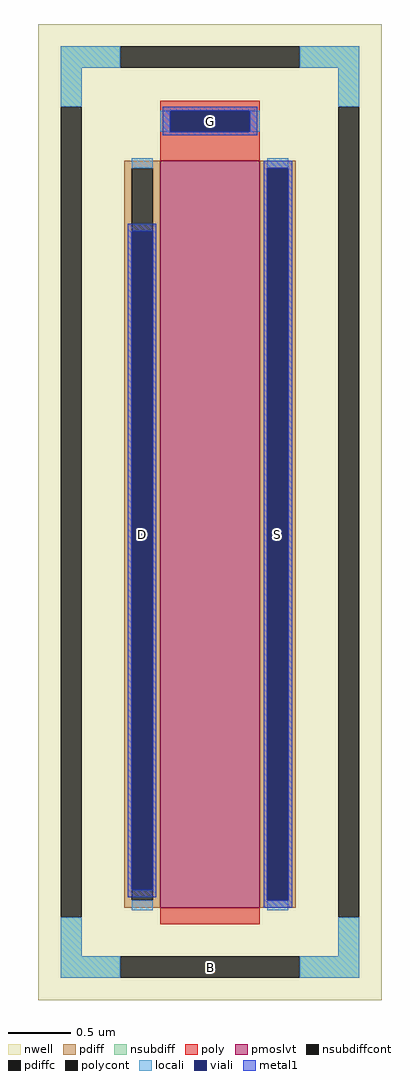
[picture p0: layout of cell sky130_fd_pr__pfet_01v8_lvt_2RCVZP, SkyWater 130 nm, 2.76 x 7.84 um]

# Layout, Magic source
magic
tech sky130A
magscale 1 2
<< nwell >>
rect -276 -784 276 784
<< pmoslvt >>
rect -80 -636 80 564
<< pdiff >>
rect -138 552 -80 564
rect -138 -624 -126 552
rect -92 -624 -80 552
rect -138 -636 -80 -624
rect 80 552 138 564
rect 80 -624 92 552
rect 126 -624 138 552
rect 80 -636 138 -624
<< pdiffc >>
rect -126 -624 -92 552
rect 92 -624 126 552
<< nsubdiff >>
rect -240 714 -144 748
rect 144 714 240 748
rect -240 651 -206 714
rect 206 651 240 714
rect -240 -714 -206 -651
rect 206 -714 240 -651
rect -240 -748 -144 -714
rect 144 -748 240 -714
<< nsubdiffcont >>
rect -144 714 144 748
rect -240 -651 -206 651
rect 206 -651 240 651
rect -144 -748 144 -714
<< poly >>
rect -80 645 80 661
rect -80 611 -64 645
rect 64 611 80 645
rect -80 564 80 611
rect -80 -662 80 -636
<< polycont >>
rect -64 611 64 645
<< locali >>
rect -240 714 -144 748
rect 144 714 240 748
rect -240 651 -206 714
rect 206 651 240 714
rect -80 611 -64 645
rect 64 611 80 645
rect -126 552 -92 568
rect -126 -640 -92 -624
rect 92 552 126 568
rect 92 -640 126 -624
rect -240 -714 -206 -651
rect 206 -714 240 -651
rect -240 -748 -144 -714
rect 144 -748 240 -714
<< viali >>
rect -64 611 64 645
rect -126 -607 -92 451
rect 92 -624 126 552
<< metal1 >>
rect -76 645 76 651
rect -76 611 -64 645
rect 64 611 76 645
rect -76 605 76 611
rect 86 552 132 564
rect -132 451 -86 463
rect -132 -607 -126 451
rect -92 -607 -86 451
rect -132 -619 -86 -607
rect 86 -624 92 552
rect 126 -624 132 552
rect 86 -636 132 -624
<< labels >>
rlabel nsubdiffcont 0 -731 0 -731 0 B
port 1 nsew
rlabel pdiffc -109 -36 -109 -36 0 D
port 2 nsew
rlabel pdiffc 109 -36 109 -36 0 S
port 3 nsew
rlabel polycont 0 628 0 628 0 G
port 4 nsew
<< properties >>
string FIXED_BBOX -223 -731 223 731
string gencell sky130_fd_pr__pfet_01v8_lvt
string library sky130
string parameters w 6.0 l 0.8 m 1 nf 1 diffcov 100 polycov 100 guard 1 glc 1 grc 1 gtc 1 gbc 1 tbcov 100 rlcov 100 topc 1 botc 0 poverlap 0 doverlap 1 lmin 0.35 wmin 0.42 class mosfet compatible {sky130_fd_pr__pfet_01v8  sky130_fd_pr__pfet_01v8_lvt sky130_fd_pr__pfet_01v8_hvt  sky130_fd_pr__pfet_g5v0d10v5} full_metal 1 conn_gates 0 viasrc 100 viadrn +90 viagate 100 viagb 0 viagr 0 viagl 0 viagt 0 doports 1
<< end >>
